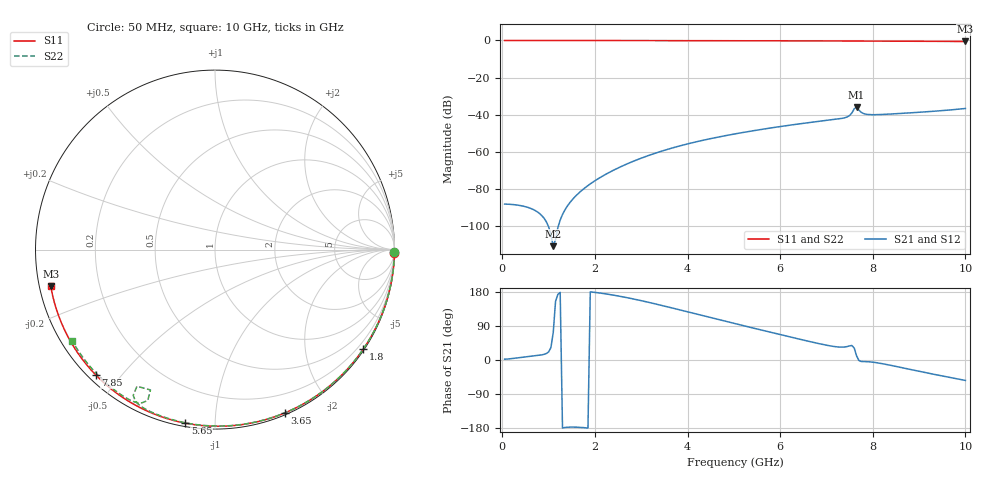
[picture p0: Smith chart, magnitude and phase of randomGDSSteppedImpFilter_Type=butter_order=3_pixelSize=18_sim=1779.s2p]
! freq	dB(S11)	phase(S11)	dB(S12)	phase(S12)
!  dB(S21)	phase(S21)	dB(S22)	phase(S22)
!S-par simulation data
#  GHz  S  DB  R 50
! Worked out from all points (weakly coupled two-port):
!   200 points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, 50 MHz to 10 GHz, reference 50 ohm
!   highest |S21| = -36.06 dB at 7.65 GHz (marker M1); lowest = -110.9 dB at 1.1 GHz (marker M2)
!   lowest |S11| = -0.6 dB at 10 GHz (marker M3), VSWR 31.07, Z = 1.63 - j5.49 ohm
!   |S11| at or under -10 dB: nowhere
!   |S22| runs from -1.3 to 0.0 dB; largest |S21 - S12| = 0
!   S11 on the Smith chart (normalised r, x): 50 MHz: open; 1.8 GHz: 0.03, -3.28; 3.65 GHz: 0.02, -1.52; 5.65 GHz: 0.02, -0.84; 7.85 GHz: 0.02, -0.43; 10 GHz: 0.03, -0.11
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0.05  -0.00 -1.0  -88.22 2.2  -88.22 2.2  -0.00 -0.9
1.1  -0.03 -20.9  -110.90 72.3  -110.90 72.3  -0.02 -18.8
1.75  -0.04 -33.0  -80.14 -178.4  -80.14 -178.4  -0.04 -29.7
1.8  -0.04 -33.9  -79.15 -178.9  -79.15 -178.9  -0.04 -30.5
2.1  -0.05 -39.4  -74.08 176.9  -74.08 176.9  -0.05 -35.4
2.5  -0.06 -46.6  -68.75 169.0  -68.75 169.0  -0.05 -42.0
3.4  -0.08 -62.5  -59.99 145.3  -59.99 145.3  -0.07 -56.3
3.65  -0.09 -66.8  -58.11 137.8  -58.11 137.8  -0.08 -60.2
4.3  -0.11 -77.8  -53.99 117.9  -53.99 117.9  -0.10 -70.1
5.05  -0.14 -90.1  -50.25 95.2  -50.25 95.2  -0.12 -81.3
5.65  -0.17 -99.7  -47.74 77.4  -47.74 77.4  -0.15 -89.9
6.7  -0.23 -116.1  -44.04 46.9  -44.04 46.9  -0.21 -104.7
7.4  -0.28 -126.8  -41.65 34.4  -41.65 34.4  -0.31 -115.4
7.5  -0.29 -128.3  -40.46 37.3  -40.46 37.3  -0.42 -117.8
7.55  -0.29 -129.1  -39.04 38.3  -39.04 38.3  -0.62 -119.3
7.6  -0.29 -129.9  -36.82 31.4  -36.82 31.4  -1.14 -119.7
7.65  -0.30 -130.6  -36.06 11.0  -36.06 11.0  -1.30 -114.7
7.7  -0.31 -131.4  -37.54 -1.2  -37.54 -1.2  -0.72 -114.0
7.75  -0.31 -132.1  -38.75 -4.0  -38.75 -4.0  -0.48 -115.5
7.85  -0.32 -133.7  -39.74 -4.3  -39.74 -4.3  -0.36 -117.9
8.35  -0.37 -141.3  -39.71 -13.1  -39.71 -13.1  -0.34 -125.7
10  -0.56 -167.5  -36.66 -53.9  -36.66 -53.9  -0.50 -147.6
